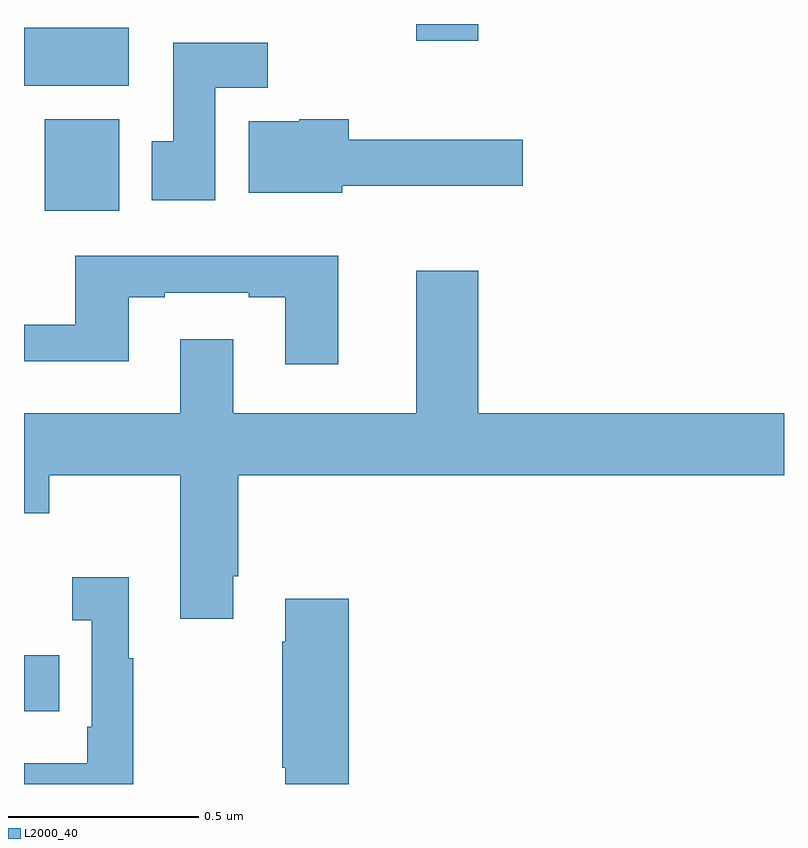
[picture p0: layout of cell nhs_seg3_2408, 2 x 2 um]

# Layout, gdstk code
import gdstk
lib = gdstk.Library(unit=1e-6, precision=1e-09)
def R(c, l, rs):  # rectangles x0, y0, x1, y1
    for r in rs: c.add(gdstk.rectangle(r[:2], r[2:], *l))
def P(c, l, *ps):  # polygons
    for p in ps: c.add(gdstk.Polygon(p, *l))
L2000_40 = (2000, 40)

nhs_seg3_2408 = lib.new_cell('nhs_seg3_2408')
R(nhs_seg3_2408, L2000_40, [(140,737.591,140.093,737.739), (140.054,738.908,140.251,739.15), (140,739.238,140.275,739.39), (141.032,739.356,141.196,739.4)])
P(nhs_seg3_2408, L2000_40, [(140.503,739.232),(140.642,739.232),(140.642,739.351),(140.393,739.351),(140.393,739.092),(140.336,739.092),(140.336,738.936),(140.503,738.936)],
  [(140.838,738.974),(141.313,738.974),(141.313,739.096),(140.855,739.096),(140.855,739.15),(140.724,739.15),(140.724,739.144),(140.591,739.144),(140.591,738.956),(140.838,738.956)],
  [(140.827,738.79),(140.135,738.79),(140.135,738.609),(140,738.609),(140,738.512),(140.275,738.512),(140.275,738.681),(140.371,738.681),(140.371,738.693),(140.591,738.693),(140.591,738.681),(140.687,738.681),(140.687,738.504),(140.827,738.504)],
  [(140.411,738.571),(140.411,738.376),(140,738.376),(140,738.113),(140.067,738.113),(140.067,738.212),(140.411,738.212),(140.411,737.835),(140.551,737.835),(140.551,737.947),(140.564,737.947),(140.564,738.212),(142,738.212),(142,738.376),(141.196,738.376),(141.196,738.751),(141.032,738.751),(141.032,738.376),(140.551,738.376),(140.551,738.571)],
  [(140.287,737.731),(140.275,737.731),(140.275,737.944),(140.127,737.944),(140.127,737.831),(140.178,737.831),(140.178,737.551),(140.166,737.551),(140.166,737.455),(140,737.455),(140,737.4),(140.287,737.4)],
  [(140.855,737.887),(140.687,737.887),(140.687,737.774),(140.68,737.774),(140.68,737.443),(140.687,737.443),(140.687,737.4),(140.855,737.4)])

lib.write_gds('nhs_seg3_2408.gds')
